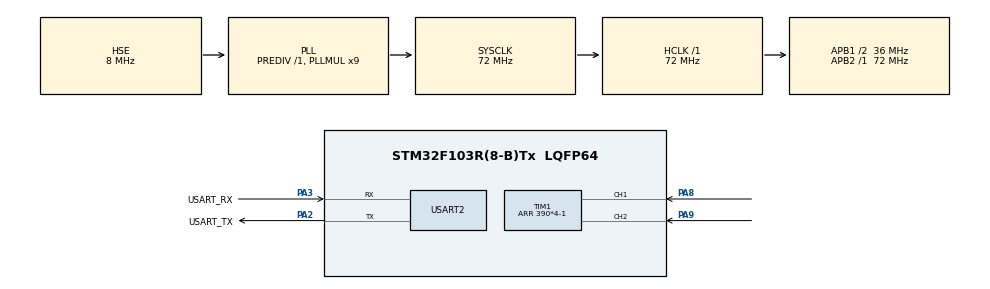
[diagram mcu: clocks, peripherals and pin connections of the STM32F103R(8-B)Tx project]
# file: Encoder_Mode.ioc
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Mcu.Family=STM32F1
Mcu.Name=STM32F103R(8-B)Tx
Mcu.Package=LQFP64
NVIC.PriorityGroup=NVIC_PRIORITYGROUP_4
NVIC.TIM1_UP_IRQn=true\:0\:0\:false\:false\:true\:true\:true
PA13.GPIO_Label=TMS
PA13.Mode=Serial_Wire
PA13.Signal=SYS_JTMS-SWDIO
PA14.GPIO_Label=TCK
PA14.Mode=Serial_Wire
PA14.Signal=SYS_JTCK-SWCLK
PA2.GPIO_Label=USART_TX
PA2.GPIO_Mode=GPIO_MODE_AF_PP
PA2.GPIO_PuPd=GPIO_NOPULL
PA2.GPIO_Speed=GPIO_SPEED_FREQ_LOW
PA2.Mode=Asynchronous
PA2.Signal=USART2_TX
PA3.GPIO_Label=USART_RX
PA3.GPIO_Mode=GPIO_MODE_AF_PP
PA3.GPIO_PuPd=GPIO_NOPULL
PA3.GPIO_Speed=GPIO_SPEED_FREQ_LOW
PA3.Mode=Asynchronous
PA3.Signal=USART2_RX
PA8.Signal=S_TIM1_CH1
PA9.Signal=S_TIM1_CH2
PB3.GPIO_Label=SWO
PB3.Signal=SYS_JTDO-TRACESWO
PC14-OSC32_IN.Mode=LSE-External-Oscillator
PC14-OSC32_IN.Signal=RCC_OSC32_IN
PC15-OSC32_OUT.Mode=LSE-External-Oscillator
PC15-OSC32_OUT.Signal=RCC_OSC32_OUT
PD0-OSC_IN.Mode=HSE-External-Clock-Source
PD0-OSC_IN.Signal=RCC_OSC_IN
PD1-OSC_OUT.Mode=HSE-External-Clock-Source
PD1-OSC_OUT.Signal=RCC_OSC_OUT
ProjectManager.HeapSize=0x200
ProjectManager.StackSize=0x400
ProjectManager.TargetToolchain=Makefile
RCC.AHBFreq_Value=72000000
RCC.APB1CLKDivider=RCC_HCLK_DIV2
RCC.APB1Freq_Value=36000000
RCC.APB1TimFreq_Value=72000000
RCC.APB2Freq_Value=72000000
RCC.APB2TimFreq_Value=72000000
RCC.HCLKFreq_Value=72000000
RCC.PLLMUL=RCC_PLL_MUL9
RCC.PLLSourceVirtual=RCC_PLLSOURCE_HSE
RCC.RTCClockSelection=RCC_RTCCLKSOURCE_LSE
RCC.SYSCLKFreq_VALUE=72000000
RCC.SYSCLKSource=RCC_SYSCLKSOURCE_PLLCLK
RCC.USBFreq_Value=72000000
SH.S_TIM1_CH1.0=TIM1_CH1,Encoder_Interface
SH.S_TIM1_CH2.0=TIM1_CH2,Encoder_Interface
TIM1.EncoderMode=TIM_ENCODERMODE_TI12
TIM1.Period=390*4-1
USART2.VirtualMode=VM_ASYNC
board=NUCLEO-F103RB

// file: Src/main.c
/* USER CODE BEGIN Header */
/**
  ******************************************************************************
  * @file           : main.c
  * @brief          : Main program body
  ******************************************************************************
  * @attention
  *
  * <h2><center>&copy; Copyright (c) 2020 STMicroelectronics.
  * All rights reserved.</center></h2>
  *
  * This software component is licensed by ST under BSD 3-Clause license,
  * the "License"; You may not use this file except in compliance with the
  * License. You may obtain a copy of the License at:
  *                        opensource.org/licenses/BSD-3-Clause
  *
  ******************************************************************************
  */
/* USER CODE END Header */
#include "main.h"
#include "tim.h"
#include "usart.h"
#include "gpio.h"

/* USER CODE BEGIN Includes */
#include "stdio.h"
#include "string.h"
/* USER CODE END Includes */

/* USER CODE BEGIN PV */
int32_t cycles;
/* USER CODE END PV */

void SystemClock_Config(void);

int main(void)
{

  /* MCU Configuration--------------------------------------------------------*/

  /* Reset of all peripherals, Initializes the Flash interface and the Systick. */
  HAL_Init();

  /* Configure the system clock */
  SystemClock_Config();

  /* Initialize all configured peripherals */
  MX_GPIO_Init();
  MX_TIM1_Init();
  MX_USART2_UART_Init();
  /* USER CODE BEGIN 2 */
  HAL_TIM_Encoder_Start(&htim1, TIM_CHANNEL_ALL); //启动编码器模式
  HAL_TIM_Base_Start_IT(&htim1);                  //启动更新中断
  cycles = 0;                                     //初始化电机圈数为0
  /* USER CODE END 2 */

  /* Infinite loop */
  /* USER CODE BEGIN WHILE */
  char str[10];
  while (1)
  {
    /* USER CODE END WHILE */

    /* USER CODE BEGIN 3 */
    sprintf(str, "deg=%d\n", (int)(cycles * 360 + __HAL_TIM_GET_COUNTER(&htim1) * (360 / 390.0 / 4)));
    HAL_UART_Transmit(&huart2, (uint8_t *)str, strlen(str), 1000);

    HAL_Delay(100);
  }
  /* USER CODE END 3 */
}

void SystemClock_Config(void)
{
  RCC_OscInitTypeDef RCC_OscInitStruct = {0};
  RCC_ClkInitTypeDef RCC_ClkInitStruct = {0};

  /** Initializes the RCC Oscillators according to the specified parameters
  * in the RCC_OscInitTypeDef structure.
  */
  RCC_OscInitStruct.OscillatorType = RCC_OSCILLATORTYPE_HSE;
  RCC_OscInitStruct.HSEState = RCC_HSE_BYPASS;
  RCC_OscInitStruct.HSEPredivValue = RCC_HSE_PREDIV_DIV1;
  RCC_OscInitStruct.HSIState = RCC_HSI_ON;
  RCC_OscInitStruct.PLL.PLLState = RCC_PLL_ON;
  RCC_OscInitStruct.PLL.PLLSource = RCC_PLLSOURCE_HSE;
  RCC_OscInitStruct.PLL.PLLMUL = RCC_PLL_MUL9;
  if (HAL_RCC_OscConfig(&RCC_OscInitStruct) != HAL_OK)
  {
    Error_Handler();
  }
  /** Initializes the CPU, AHB and APB buses clocks
  */
  RCC_ClkInitStruct.ClockType = RCC_CLOCKTYPE_HCLK|RCC_CLOCKTYPE_SYSCLK
                              |RCC_CLOCKTYPE_PCLK1|RCC_CLOCKTYPE_PCLK2;
  RCC_ClkInitStruct.SYSCLKSource = RCC_SYSCLKSOURCE_PLLCLK;
  RCC_ClkInitStruct.AHBCLKDivider = RCC_SYSCLK_DIV1;
  RCC_ClkInitStruct.APB1CLKDivider = RCC_HCLK_DIV2;
  RCC_ClkInitStruct.APB2CLKDivider = RCC_HCLK_DIV1;

  if (HAL_RCC_ClockConfig(&RCC_ClkInitStruct, FLASH_LATENCY_2) != HAL_OK)
  {
    Error_Handler();
  }
}

/* USER CODE BEGIN 4 */

void HAL_TIM_PeriodElapsedCallback(TIM_HandleTypeDef *htim)
{
  if(htim->Instance == TIM1)
  {
    if(__HAL_TIM_GET_COUNTER(htim) < 780) //780即为390*4的一半
      cycles++; //若计数值较低，则为向上计数时发生重载，圈数增加
    else
      cycles--; //若计数值较高，则为向下计数时发生重载，圈数减少
  }
}

/* USER CODE END 4 */

void Error_Handler(void)
{
}

/************************ (C) COPYRIGHT STMicroelectronics *****END OF FILE****/
